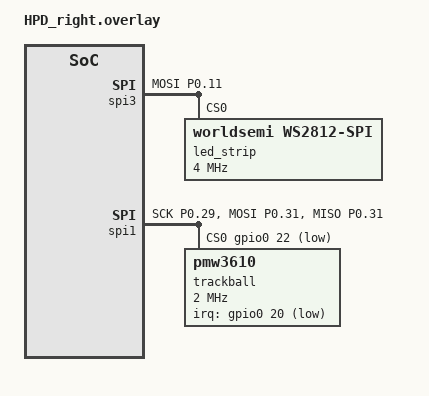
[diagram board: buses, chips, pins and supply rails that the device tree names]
/*
 * Copyright (c) 2020 ZMK Contributors
 *
 * SPDX-License-Identifier: MIT
 */
 
#include "HPD.dtsi"
#include <dt-bindings/led/led.h>

/ {
    chosen {
        zmk,underglow = &led_strip;
    };
};

&pinctrl {
    spi3_default: spi3_default {
        group1 {
            psels = <NRF_PSEL(SPIM_MOSI, 0, 11)>;
        };
    };

    spi3_sleep: spi3_sleep {
        group1 {
            psels = <NRF_PSEL(SPIM_MOSI, 0, 11)>;
            low-power-enable;
        };
    };
};

&spi3 {
    compatible = "nordic,nrf-spim";
    status = "okay";

    pinctrl-0 = <&spi3_default>;
    pinctrl-1 = <&spi3_sleep>;
    pinctrl-names = "default", "sleep";

    led_strip: ws2812@0 {
        compatible = "worldsemi,ws2812-spi";

        reg = <0>;
        spi-max-frequency = <4000000>;
        
        chain-length = <1>; 
        
        spi-one-frame = <0x70>;
        spi-zero-frame = <0x40>;
        color-mapping = <LED_COLOR_ID_GREEN
                         LED_COLOR_ID_RED
                         LED_COLOR_ID_BLUE>;
    };
};

&default_transform {
    col-offset = <6>;
};

&kscan0 {
    row-gpios
        = <&gpio0 10 (GPIO_ACTIVE_HIGH | GPIO_PULL_DOWN)>
        , <&gpio1 11 (GPIO_ACTIVE_HIGH | GPIO_PULL_DOWN)>
        , <&gpio1 13  (GPIO_ACTIVE_HIGH | GPIO_PULL_DOWN)>
        , <&gpio1 15 (GPIO_ACTIVE_HIGH | GPIO_PULL_DOWN)>
        , <&gpio0 2 (GPIO_ACTIVE_HIGH | GPIO_PULL_DOWN)>
        , <&gpio0 24 (GPIO_ACTIVE_HIGH | GPIO_PULL_DOWN)>
        ;
    
	col-gpios
        =  <&gpio0 6  GPIO_ACTIVE_HIGH>
        ,  <&gpio0 8  GPIO_ACTIVE_HIGH>
        , <&gpio0 17  GPIO_ACTIVE_HIGH>
        , <&gpio1 4  GPIO_ACTIVE_HIGH>
        , <&gpio1 6  GPIO_ACTIVE_HIGH>
        , <&gpio0 9  GPIO_ACTIVE_HIGH>
		;
};

&pinctrl {
    spi1_default: spi1_default {
        group1 {
            psels = <NRF_PSEL(SPIM_SCK, 0, 29)>,
                <NRF_PSEL(SPIM_MOSI, 0, 31)>,
                <NRF_PSEL(SPIM_MISO, 0, 31)>;
        };
    };

    spi1_sleep: spi1_sleep {
        group1 {
            psels = <NRF_PSEL(SPIM_SCK, 0, 29)>,
                <NRF_PSEL(SPIM_MOSI, 0, 31)>,
                <NRF_PSEL(SPIM_MISO, 0, 31)>;
            low-power-enable;
        };
    };
};

&spi1 {
    status = "okay";
    compatible = "nordic,nrf-spim";
    pinctrl-0 = <&spi1_default>;
    pinctrl-1 = <&spi1_sleep>;
    pinctrl-names = "default", "sleep";
    cs-gpios = <&gpio0 22 GPIO_ACTIVE_LOW>;

    trackball: trackball@0 {
        status = "okay";
        compatible = "zmk,pmw3610";
        reg = <0>;
        spi-max-frequency = <2000000>;
        irq-gpios = <&gpio0 20 (GPIO_ACTIVE_LOW | GPIO_PULL_UP)>;
        automouse-layer = <4>;
        scroll-layers = <5>;
        snipe-layers = <1>;
    };
};

/ {
  trackball_listener {
    compatible = "zmk,input-listener";
    device = <&trackball>;

  };
};
